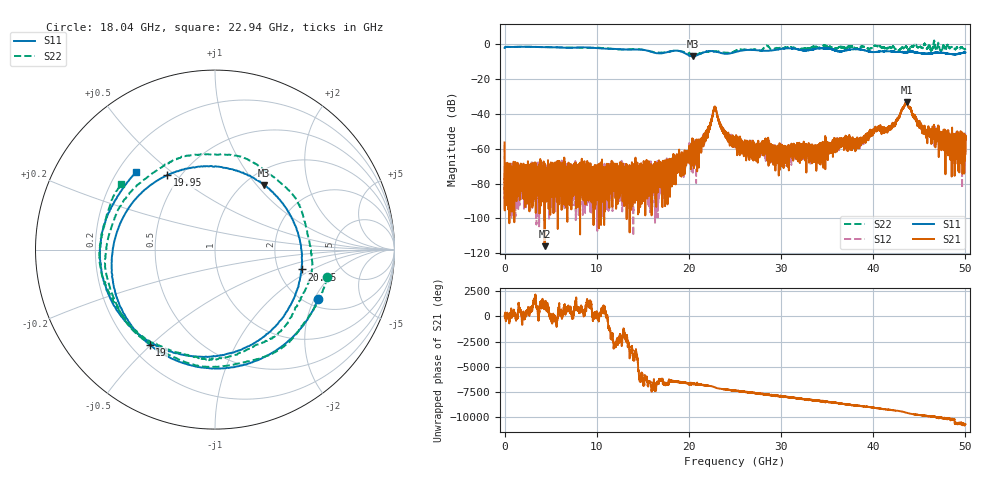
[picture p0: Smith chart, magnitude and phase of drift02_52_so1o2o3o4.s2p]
!Created with skrf (http://scikit-rf.org).
# Hz S RI R 50.0
!freq ReS11 ImS11 ReS21 ImS21 ReS12 ImS12 ReS22 ImS22
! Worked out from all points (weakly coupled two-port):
!   10001 points, 300 kHz to 50 GHz, reference 50 ohm
!   highest |S21| = -33.07 dB at 43.66 GHz (marker M1); lowest = -116.0 dB at 4.34 GHz (marker M2)
!   lowest |S11| = -6.9 dB at 20.45 GHz (marker M3), VSWR 2.64, Z = 60.5 + j54.6 ohm
!   |S11| at or under -10 dB: nowhere
!   |S22| runs from -5.7 to 2.3 dB; largest |S21 - S12| = 0.0031
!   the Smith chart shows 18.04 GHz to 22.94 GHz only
!   S11 on the Smith chart (normalised r, x): 18.04 GHz: 2.31, -2.14; 19 GHz: 0.27, -0.50; 19.95 GHz: 0.43, +0.47; 20.95 GHz: 2.69, -0.79; 22.94 GHz: 0.27, +0.38
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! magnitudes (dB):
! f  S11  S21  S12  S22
! 300 kHz  -2.1  -56.4  -57.9  -2.1
! 260.3 MHz  -1.4  -82.2  -86.9  -1.4
! 4.34 GHz  -1.6  -116.0  -89.2  -1.6
! 8.335 GHz  -1.7  -75.6  -71.6  -1.9
! 16.67 GHz  -5.2  -68.1  -74.8  -4.7
! 18.04 GHz  -3.9  -69.2  -71.6  -3.9
! 19 GHz  -3.8  -68.4  -69.0  -3.9
! 19.95 GHz  -6.2  -65.0  -63.7  -5.2
! 20.45 GHz  -6.9  -65.7  -58.2  -5.4
! 20.95 GHz  -6.1  -57.8  -59.7  -5.6
! 22.94 GHz  -4.2  -37.5  -37.4  -3.9
! 23.82 GHz  -5.3  -50.6  -50.8  -4.6
! 25 GHz  -4.4  -56.1  -55.5  -3.9
! 29.74 GHz  -2.9  -59.3  -61.5  -2.1
! 33.34 GHz  -3.0  -60.6  -61.0  -1.6
! 38.2 GHz  -2.7  -56.4  -56.4  -2.4
! 40.36 GHz  -4.3  -48.8  -48.9  -0.9
! 41.67 GHz  -3.9  -48.8  -48.3  -1.9
! 43.66 GHz  -4.3  -33.1  -33.5  -2.0
! 45.67 GHz  -5.4  -49.8  -50.1  -0.3
! 48.47 GHz  -5.6  -51.5  -56.0  -1.4
! 50 GHz  -4.6  -53.9  -61.5  -2.7
